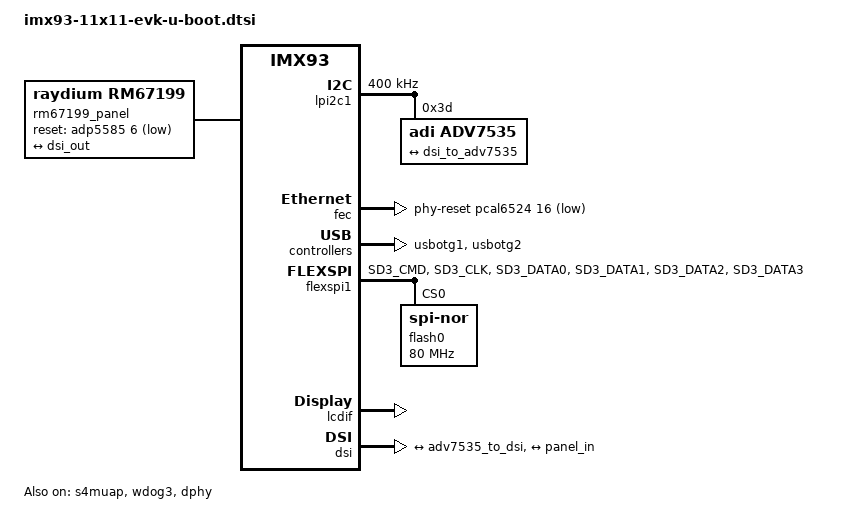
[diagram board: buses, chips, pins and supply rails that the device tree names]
// SPDX-License-Identifier: GPL-2.0+
/*
 * Copyright 2022 NXP
 */

#include "imx93-u-boot.dtsi"

/ {
	wdt-reboot {
		compatible = "wdt-reboot";
		wdt = <&wdog3>;
		bootph-pre-ram;
		bootph-some-ram;
	};

	aliases {
		usb_gadget0 = &usbg1;
		usb_gadget1 = &usbg2;
		rtc0 = &pcf2131;
	};

	chosen {
		bootargs = "console=ttyLP0,115200";
	};

	usbg1: usbg1 {
		compatible = "fsl,imx27-usb-gadget";
		dr_mode = "peripheral";
		chipidea,usb = <&usbotg1>;
		status = "okay";
	};

	usbg2: usbg2 {
		compatible = "fsl,imx27-usb-gadget";
		dr_mode = "peripheral";
		chipidea,usb = <&usbotg2>;
		status = "okay";
	};

	firmware {
		optee {
			compatible = "linaro,optee-tz";
			method = "smc";
		};
	};

	dsi_host: dsi-host {
		compatible = "synopsys,dw-mipi-dsi";
		status = "okay";
	};

	rm67199_panel {
		compatible = "raydium,rm67199";
		reset-gpio = <&adp5585 6 GPIO_ACTIVE_LOW>;
		dsi-lanes = <4>;
		video-mode = <2>;	/* 0: burst mode
					 * 1: non-burst mode with sync event
					 * 2: non-burst mode with sync pulse
					 */
		width-mm = <68>;
		height-mm = <121>;
		status = "okay";

		port {
			panel_in: endpoint {
				remote-endpoint = <&dsi_out>;
			};
		};
	};
};

&A55_0 {
	clocks = <&clk IMX93_CLK_A55_SEL>;
};

&A55_1 {
	clocks = <&clk IMX93_CLK_A55_SEL>;
};

&{/soc@0} {
	bootph-all;
	bootph-pre-ram;
};

&aips1 {
	bootph-pre-ram;
	bootph-all;
};

&aips2 {
	bootph-pre-ram;
	bootph-some-ram;
};

&aips3 {
	bootph-pre-ram;
	bootph-some-ram;
};

&iomuxc {
	bootph-pre-ram;
	bootph-some-ram;

	pinctrl_flexspi: flexspigrp {
		fsl,pins = <
			MX93_PAD_SD3_CMD__FLEXSPI1_A_SS0_B      0x3fe
			MX93_PAD_SD3_CLK__FLEXSPI1_A_SCLK       0x3fe
			MX93_PAD_SD3_DATA0__FLEXSPI1_A_DATA00   0x3fe
			MX93_PAD_SD3_DATA1__FLEXSPI1_A_DATA01   0x3fe
			MX93_PAD_SD3_DATA2__FLEXSPI1_A_DATA02   0x3fe
			MX93_PAD_SD3_DATA3__FLEXSPI1_A_DATA03   0x3fe
		>;
	};
};

&reg_usdhc2_vmmc {
	off-on-delay-us = <20000>;
	bootph-pre-ram;
};

&pinctrl_reg_usdhc2_vmmc {
	bootph-pre-ram;
};

&pinctrl_uart1 {
	bootph-pre-ram;
	bootph-some-ram;
};

&pinctrl_usdhc1 {
	bootph-pre-ram;
};

&pinctrl_usdhc2_gpio {
	bootph-pre-ram;
};

&pinctrl_usdhc2 {
	bootph-pre-ram;
};

&gpio1 {
	bootph-pre-ram;
	bootph-some-ram;
};

&gpio2 {
	bootph-pre-ram;
	bootph-some-ram;
};

&gpio3 {
	bootph-pre-ram;
	bootph-some-ram;
};

&gpio4 {
	bootph-pre-ram;
	bootph-some-ram;
};

&lpuart1 {
	bootph-pre-ram;
	bootph-some-ram;
};

&usdhc1 {
	bootph-pre-ram;
};

&usdhc2 {
	bootph-pre-ram;
	fsl,signal-voltage-switch-extra-delay-ms = <8>;
};

&lpi2c1 {
	bootph-pre-ram;
	#address-cells = <1>;
	#size-cells = <0>;
	clock-frequency = <400000>;
	pinctrl-names = "default", "sleep";
	pinctrl-0 = <&pinctrl_lpi2c1>;
	pinctrl-1 = <&pinctrl_lpi2c1>;
	status = "okay";

	adv7535: hdmi@3d {
		compatible = "adi,adv7535";
		reg = <0x3d>;
		adi,addr-cec = <0x3c>;
		adi,dsi-lanes = <4>;
		status = "okay";

		port {
			adv7535_to_dsi: endpoint {
				remote-endpoint = <&dsi_to_adv7535>;
			};
		};
	};
};

&lpi2c2 {
	bootph-pre-ram;
};

&lpi2c3 {
	bootph-pre-ram;
};

&{/soc@0/bus@44000000/i2c@44350000/pmic@25} {
	bootph-pre-ram;
};

&{/soc@0/bus@44000000/i2c@44350000/pmic@25/regulators} {
	bootph-pre-ram;
};

&pinctrl_lpi2c1 {
	bootph-pre-ram;
};

&pinctrl_lpi2c2 {
	bootph-pre-ram;
};

&pinctrl_lpi2c3 {
	bootph-pre-ram;
};

&fec {
	phy-reset-gpios = <&pcal6524 16 GPIO_ACTIVE_LOW>;
	phy-reset-duration = <15>;
	phy-reset-post-delay = <100>;
};

&ethphy1 {
	reset-gpios = <&pcal6524 15 GPIO_ACTIVE_LOW>;
	reset-assert-us = <15000>;
	reset-deassert-us = <100000>;
};

&usbotg1 {
	status = "okay";
	extcon = <&ptn5110>;
};

&usbotg2 {
	status = "okay";
	extcon = <&ptn5110_2>;
};

&s4muap {
	bootph-pre-ram;
	bootph-some-ram;
	status = "okay";
};

&clk {
	bootph-all;
	bootph-pre-ram;
	/delete-property/ assigned-clocks;
	/delete-property/ assigned-clock-rates;
	/delete-property/ assigned-clock-parents;
};

&osc_32k {
	bootph-all;
	bootph-pre-ram;
};

&osc_24m {
	bootph-all;
	bootph-pre-ram;
};

&clk_ext1 {
	bootph-all;
	bootph-pre-ram;
};

&flexspi1 {
	pinctrl-names = "default";
	pinctrl-0 = <&pinctrl_flexspi>;
	assigned-clock-rates = <80000000>;
	status = "okay";

	flash0: flash@0 {
		reg = <0>;
		#address-cells = <1>;
		#size-cells = <1>;
		compatible = "jedec,spi-nor";
		spi-max-frequency = <80000000>;
		spi-tx-bus-width = <4>;
		spi-rx-bus-width = <4>;
	};
};

&wdog3 {
	status = "okay";
};

&lcdif {
	assigned-clocks = <&clk IMX93_CLK_MEDIA_AXI>, <&clk IMX93_CLK_MEDIA_APB>;
	assigned-clock-parents = <&clk IMX93_CLK_SYS_PLL_PFD1>, <&clk IMX93_CLK_SYS_PLL_PFD1_DIV2>;
	assigned-clock-rates = <400000000>, <133333334>;
	status = "okay";
};

&dphy {
	status = "okay";
};

&dsi {
	status = "okay";

	ports {
		port@1 {
			dsi_to_adv7535: endpoint {
				remote-endpoint = <&adv7535_to_dsi>;
			};
		};

		port@2 {
			dsi_out: endpoint {
				remote-endpoint = <&panel_in>;
			};
		};
	};
};
